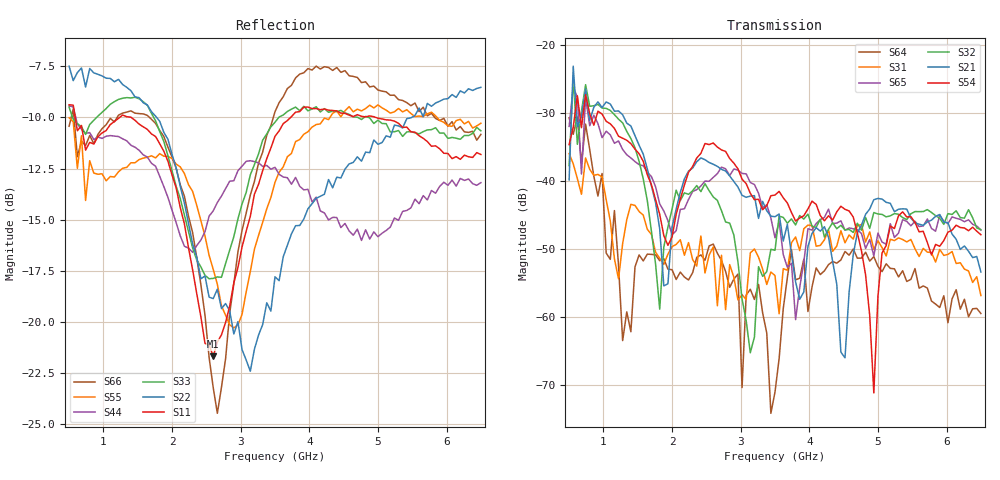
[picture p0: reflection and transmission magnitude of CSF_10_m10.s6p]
!Keysight Technologies,M9804A,MY58100912,A.14.10.03
!Date: Thursday, April 27, 2023 10:28:33
!Correction: S11(C  6-Port  )
!S12(C  6-Port  )
!S13(C  6-Port  )
!S14(C  6-Port  )
!S15(C  6-Port  )
!S16(C  6-Port  )
!S21(C  6-Port  )
!S22(C  6-Port  )
!S23(C  6-Port  )
!S24(C  6-Port  )
!S25(C  6-Port  )
!S26(C  6-Port  )
!S31(C  6-Port  )
!S32(C  6-Port  )
!S33(C  6-Port  )
!S34(C  6-Port  )
!S35(C  6-Port  )
!S36(C  6-Port  )
!S41(C  6-Port  )
!S42(C  6-Port  )
!S43(C  6-Port  )
!S44(C  6-Port  )
!S45(C  6-Port  )
!S46(C  6-Port  )
!S51(C  6-Port  )
!S52(C  6-Port  )
!S53(C  6-Port  )
!S54(C  6-Port  )
!S55(C  6-Port  )
!S56(C  6-Port  )
!S61(C  6-Port  )
!S62(C  6-Port  )
!S63(C  6-Port  )
!S64(C  6-Port  )
!S65(C  6-Port  )
!S66(C  6-Port  )
!S6P File: Measurement: :
# Hz S  RI  R 50
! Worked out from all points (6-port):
!   101 points, 500 MHz to 6.5 GHz, reference 50 ohm
!   strongest paths, dB at 500 MHz, 2 GHz, 3.5 GHz, 5 GHz, 6.5 GHz:
!     S54: -34.7, -48.3, -42.1, -57.0, -47.9
!     S21: -39.9, -46.8, -45.3, -42.6, -53.4
!     S32: -37.8, -44.2, -50.2, -44.9, -47.2
!     S65: -32.0, -48.0, -48.4, -47.7, -47.3
!     S31: -36.0, -49.7, -54.0, -48.8, -56.9
!     S64: -30.7, -53.1, -71.1, -52.6, -59.5
!   lowest |S11| = -21.7 dB at 2.6 GHz (marker M1), VSWR 1.18, Z = 42.7 + j2.08 ohm
!   |S11| at or under -10 dB: 588.8 MHz to 1.236 GHz (647.1 MHz wide, 70.9 % of centre); 1.405 GHz to 3.728 GHz (2.322 GHz wide, 90.5 % of centre); 4.969 GHz to end of sweep
